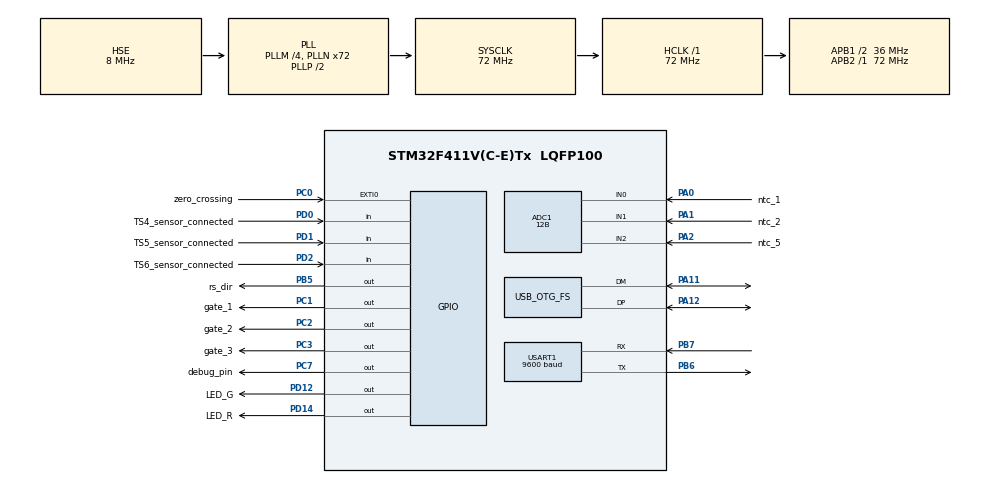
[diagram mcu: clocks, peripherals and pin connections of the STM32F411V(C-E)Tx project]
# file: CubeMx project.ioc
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ADC1.Channel-10\#ChannelRegularConversion=ADC_CHANNEL_0
ADC1.Channel-11\#ChannelRegularConversion=ADC_CHANNEL_1
ADC1.Channel-12\#ChannelRegularConversion=ADC_CHANNEL_2
ADC1.DMAContinuousRequests=ENABLE
ADC1.EOCSelection=ADC_EOC_SEQ_CONV
ADC1.ExternalTrigConv=ADC_SOFTWARE_START
ADC1.NbrOfConversion=3
ADC1.NbrOfConversionFlag=1
ADC1.Rank-10\#ChannelRegularConversion=1
ADC1.Rank-11\#ChannelRegularConversion=2
ADC1.Rank-12\#ChannelRegularConversion=3
ADC1.Resolution=ADC_RESOLUTION_12B
ADC1.SamplingTime-10\#ChannelRegularConversion=ADC_SAMPLETIME_3CYCLES
ADC1.SamplingTime-11\#ChannelRegularConversion=ADC_SAMPLETIME_3CYCLES
ADC1.SamplingTime-12\#ChannelRegularConversion=ADC_SAMPLETIME_3CYCLES
ADC1.master=1
Dma.ADC1.0.Direction=DMA_PERIPH_TO_MEMORY
Dma.ADC1.0.FIFOMode=DMA_FIFOMODE_DISABLE
Dma.ADC1.0.Instance=DMA2_Stream0
Dma.ADC1.0.MemDataAlignment=DMA_MDATAALIGN_HALFWORD
Dma.ADC1.0.MemInc=DMA_MINC_ENABLE
Dma.ADC1.0.Mode=DMA_NORMAL
Dma.ADC1.0.PeriphDataAlignment=DMA_PDATAALIGN_HALFWORD
Dma.ADC1.0.PeriphInc=DMA_PINC_DISABLE
Dma.ADC1.0.Priority=DMA_PRIORITY_LOW
Dma.Request0=ADC1
Mcu.Family=STM32F4
Mcu.Name=STM32F411V(C-E)Tx
Mcu.Package=LQFP100
NVIC.ADC_IRQn=true\:0\:0\:false\:false\:true\:true\:true
NVIC.DMA2_Stream0_IRQn=true\:0\:0\:false\:false\:true\:false\:true
NVIC.EXTI0_IRQn=true\:1\:0\:true\:false\:true\:true\:true
NVIC.OTG_FS_IRQn=true\:0\:0\:false\:false\:true\:true\:true
NVIC.PriorityGroup=NVIC_PRIORITYGROUP_4
NVIC.TIM2_IRQn=true\:0\:0\:true\:false\:true\:true\:true
NVIC.USART1_IRQn=true\:2\:0\:true\:false\:true\:true\:true
PA0-WKUP.GPIO_Label=ntc_1
PA0-WKUP.GPIO_Mode=GPIO_MODE_ANALOG
PA0-WKUP.GPIO_PuPd=GPIO_NOPULL
PA0-WKUP.Signal=ADCx_IN0
PA1.GPIO_Label=ntc_2
PA1.GPIO_Mode=GPIO_MODE_ANALOG
PA1.GPIO_PuPd=GPIO_NOPULL
PA1.Signal=ADCx_IN1
PA11.Mode=Device_Only
PA11.Signal=USB_OTG_FS_DM
PA12.Mode=Device_Only
PA12.Signal=USB_OTG_FS_DP
PA13.Mode=Trace_Asynchronous_SW
PA13.Signal=SYS_JTMS-SWDIO
PA14.Mode=Trace_Asynchronous_SW
PA14.Signal=SYS_JTCK-SWCLK
PA2.GPIO_Label=ntc_5
PA2.GPIO_Mode=GPIO_MODE_ANALOG
PA2.GPIO_PuPd=GPIO_NOPULL
PA2.Signal=ADCx_IN2
PB3.Mode=Trace_Asynchronous_SW
PB3.Signal=SYS_JTDO-SWO
PB5.GPIO_Label=rs_dir
PB5.GPIO_ModeDefaultOutputPP=GPIO_MODE_OUTPUT_PP
PB5.GPIO_PuPd=GPIO_NOPULL
PB5.GPIO_Speed=GPIO_SPEED_FREQ_LOW
PB5.PinState=GPIO_PIN_RESET
PB5.Signal=GPIO_Output
PB6.Mode=Asynchronous
PB6.Signal=USART1_TX
PB7.Mode=Asynchronous
PB7.Signal=USART1_RX
PC0.GPIO_Label=zero_crossing
PC0.GPIO_ModeDefaultEXTI=GPIO_MODE_IT_FALLING
PC0.GPIO_PuPd=GPIO_NOPULL
PC0.Signal=GPXTI0
PC1.GPIO_Label=gate_1
PC1.GPIO_ModeDefaultOutputPP=GPIO_MODE_OUTPUT_PP
PC1.GPIO_PuPd=GPIO_NOPULL
PC1.GPIO_Speed=GPIO_SPEED_FREQ_LOW
PC1.PinState=GPIO_PIN_RESET
PC1.Signal=GPIO_Output
PC14-OSC32_IN.Mode=LSE-External-Oscillator
PC14-OSC32_IN.Signal=RCC_OSC32_IN
PC15-OSC32_OUT.Mode=LSE-External-Oscillator
PC15-OSC32_OUT.Signal=RCC_OSC32_OUT
PC2.GPIO_Label=gate_2
PC2.GPIO_ModeDefaultOutputPP=GPIO_MODE_OUTPUT_PP
PC2.GPIO_PuPd=GPIO_NOPULL
PC2.GPIO_Speed=GPIO_SPEED_FREQ_LOW
PC2.PinState=GPIO_PIN_RESET
PC2.Signal=GPIO_Output
PC3.GPIO_Label=gate_3
PC3.GPIO_ModeDefaultOutputPP=GPIO_MODE_OUTPUT_PP
PC3.GPIO_PuPd=GPIO_NOPULL
PC3.GPIO_Speed=GPIO_SPEED_FREQ_LOW
PC3.PinState=GPIO_PIN_RESET
PC3.Signal=GPIO_Output
PC7.GPIO_Label=debug_pin
PC7.GPIO_ModeDefaultOutputPP=GPIO_MODE_OUTPUT_PP
PC7.GPIO_PuPd=GPIO_NOPULL
PC7.GPIO_Speed=GPIO_SPEED_FREQ_LOW
PC7.PinState=GPIO_PIN_RESET
PC7.Signal=GPIO_Output
PD0.GPIO_Label=TS4_sensor_connected
PD0.GPIO_PuPd=GPIO_PULLUP
PD0.Signal=GPIO_Input
PD1.GPIO_Label=TS5_sensor_connected
PD1.GPIO_PuPd=GPIO_PULLUP
PD1.Signal=GPIO_Input
PD12.GPIO_Label=LED_G
PD12.GPIO_ModeDefaultOutputPP=GPIO_MODE_OUTPUT_PP
PD12.GPIO_PuPd=GPIO_NOPULL
PD12.GPIO_Speed=GPIO_SPEED_FREQ_LOW
PD12.PinState=GPIO_PIN_RESET
PD12.Signal=GPIO_Output
PD14.GPIO_Label=LED_R
PD14.GPIO_ModeDefaultOutputPP=GPIO_MODE_OUTPUT_PP
PD14.GPIO_PuPd=GPIO_NOPULL
PD14.GPIO_Speed=GPIO_SPEED_FREQ_LOW
PD14.PinState=GPIO_PIN_RESET
PD14.Signal=GPIO_Output
PD14.Stacked=true
PD2.GPIO_Label=TS6_sensor_connected
PD2.GPIO_PuPd=GPIO_PULLUP
PD2.Signal=GPIO_Input
PH0\ -\ OSC_IN.Mode=HSE-External-Oscillator
PH0\ -\ OSC_IN.Signal=RCC_OSC_IN
PH1\ -\ OSC_OUT.Mode=HSE-External-Oscillator
PH1\ -\ OSC_OUT.Signal=RCC_OSC_OUT
ProjectManager.HeapSize=0x200
ProjectManager.StackSize=0x400
ProjectManager.TargetToolchain=SW4STM32
RCC.48MHZClocksFreq_Value=48000000
RCC.AHBFreq_Value=72000000
RCC.APB1CLKDivider=RCC_HCLK_DIV2
RCC.APB1Freq_Value=36000000
RCC.APB1TimFreq_Value=72000000
RCC.APB2Freq_Value=72000000
RCC.APB2TimFreq_Value=72000000
RCC.CortexFreq_Value=72000000
RCC.HCLKFreq_Value=72000000
RCC.HSE_VALUE=8000000
RCC.HSI_VALUE=16000000
RCC.PLLI2SM=5
RCC.PLLI2SN=200
RCC.PLLM=4
RCC.PLLN=72
RCC.PLLQ=3
RCC.SYSCLKFreq_VALUE=72000000
RCC.SYSCLKSource=RCC_SYSCLKSOURCE_PLLCLK
RCC.VCOOutputFreq_Value=144000000
SH.ADCx_IN0.0=ADC1_IN0,IN0
SH.ADCx_IN1.0=ADC1_IN1,IN1
SH.ADCx_IN2.0=ADC1_IN2,IN2
TIM2.AutoReloadPreload=TIM_AUTORELOAD_PRELOAD_ENABLE
TIM2.Period=99
TIM2.Prescaler=99
TIM2.TIM_MasterOutputTrigger=TIM_TRGO_UPDATE
USART1.BaudRate=9600
USART1.VirtualMode=VM_ASYNC
USB_DEVICE.CLASS_NAME_FS=CDC
USB_DEVICE.PRODUCT_STRING_CDC_FS=fan controller debug console
USB_DEVICE.VirtualMode=Cdc
USB_DEVICE.VirtualModeFS=Cdc_FS
USB_OTG_FS.VirtualMode=Device_Only
VP_TIM2_VS_ClockSourceINT.Mode=Internal
VP_USB_DEVICE_VS_USB_DEVICE_CDC_FS.Mode=CDC_FS
board=STM32F411E-DISCO

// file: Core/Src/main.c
/* USER CODE BEGIN Header */
/**
  ******************************************************************************
  * @file           : main.c
  * @brief          : Main program body
  ******************************************************************************
  * @attention
  *
  * <h2><center>&copy; Copyright (c) 2020 STMicroelectronics.
  * All rights reserved.</center></h2>
  *
  * This software component is licensed by ST under BSD 3-Clause license,
  * the "License"; You may not use this file except in compliance with the
  * License. You may obtain a copy of the License at:
  *                        opensource.org/licenses/BSD-3-Clause
  *
  ******************************************************************************
  */
/* USER CODE END Header */
#include "main.h"
#include "usb_device.h"

/* USER CODE BEGIN Includes */

#include <stdbool.h>
#include <math.h>
#include <string.h>
#include <config.h>
#include <rs485.h>
#include <modbus.h>
#include <gate_driver.h>
#include <logger.h>
#include <sensor.h>

/* USER CODE END Includes */

/* USER CODE BEGIN PM */

#define WORK_STATE_MANUAL 0
#define WORK_STATE_AUTO 1

/* USER CODE END PM */

ADC_HandleTypeDef hadc1;
DMA_HandleTypeDef hdma_adc1;

TIM_HandleTypeDef htim2;

UART_HandleTypeDef huart1;

/* USER CODE BEGIN PV */

/* Flags */
bool update_working_parameters_pending_flag = false;
bool modbus_request_pending_flag = false;

/* Global variables */
uint32_t gate_pulse_delay_counter_us = 0;
uint32_t update_parameter_counter_us = 0;
uint32_t rx_time_interval_counter = 0;
sensors_t sensors[TOTAL_SENSOR_NUMBER];
uint16_t dma_adc_array[ISOLATED_SENSOR_NUMBER];
int16_t temperature_error_state = 0;
uint8_t received_modbus_frame[RS_RX_BUFFER_SIZE];
uint16_t modbus_frame_byte_counter = 0;

static channel_t channel_array[OUTPUT_CHANNELS_NUMBER] = {
	{gate_1_Pin, 0, WORK_STATE_AUTO, INIT_CHANNEL_SETPOINT_C, 0, 0, GATE_IDLE},
	{gate_2_Pin, 1, WORK_STATE_AUTO, INIT_CHANNEL_SETPOINT_C, 0, 0, GATE_IDLE},
	{gate_3_Pin, 2, WORK_STATE_AUTO, INIT_CHANNEL_SETPOINT_C, 0, 0, GATE_IDLE}
};
uint8_t uart_rx_byte = 0;

/* USER CODE END PV */

void SystemClock_Config(void);
static void MX_GPIO_Init(void);
static void MX_DMA_Init(void);
static void MX_ADC1_Init(void);
static void MX_USART1_UART_Init(void);
static void MX_TIM2_Init(void);
/* USER CODE BEGIN PFP */
int16_t pi_regulator(uint8_t channel, int16_t current_temp, int16_t target_temperature);
void update_working_parameters(void);
void update_modbus_registers(void);
void update_app_data(void);

/* USER CODE END PFP */

/* USER CODE BEGIN 0 */

void update_working_parameters()
{
	log_usb(LEVEL_INFO, "INF: Updating working parameters\n\r");
	HAL_GPIO_TogglePin(GPIOD, LED_G_Pin);

	// Update sensor connected status from user buttons
	sensors[0].connected_status = true; // always connected internally
	sensors[1].connected_status = true; // always connected internally
	sensors[2].connected_status = true; // always connected internally
	sensors[3].connected_status = (bool)HAL_GPIO_ReadPin(GPIOD, TS4_sensor_connected_Pin);
	sensors[4].connected_status = (bool)HAL_GPIO_ReadPin(GPIOD, TS5_sensor_connected_Pin);
	sensors[5].connected_status = (bool)HAL_GPIO_ReadPin(GPIOD, TS6_sensor_connected_Pin);

	// get real ADC values to sensor_values array (for non-isolated sensors)
	for (int i = 0; i < NON_ISOLATED_SENSOR_NUMBER; i++)
	{
		sensors[i].adc_value = dma_adc_array[i];
	}
	// get real ADC values to sensor_values array (for isolated sensors)
	sensors[3].adc_value = 0; // TODO get real value from SPI ADC
	sensors[4].adc_value = 0; // TODO get real value from SPI ADC
	sensors[5].adc_value = 0; // TODO get real value from SPI ADC

	// calculate temperatures from ADC values
	sensors[0].temperature = ntc_to_temperature(sensors[0].adc_value);
	sensors[1].temperature = ntc_to_temperature(sensors[0].adc_value);
	sensors[2].temperature = ntc_to_temperature(sensors[0].adc_value);
	sensors[3].temperature = ntc_to_temperature(sensors[0].adc_value);
	sensors[4].temperature = ntc_to_temperature(sensors[0].adc_value);
	sensors[5].temperature = pt100_to_temperature(sensors[0].adc_value);
	temperature_error_state = check_for_error(sensors);

	// log sensor data
	log_usb(LEVEL_INFO, "SEN CH | ADC  | TEMP | USED | ERR |\n\r-------|------|------|------|-----|\n\r");
	for (int channel = 0; channel < TOTAL_SENSOR_NUMBER; channel++)
	{
	  log_usb(LEVEL_INFO, "     %d | %04d | %04d |  %d   |  %d  |\n\r", channel+1, sensors[channel].adc_value, sensors[channel].temperature, (int)(sensors[channel].connected_status), sensors[channel].error);
	}

	// run PI regulator calculations
	for (uint8_t i = 0; i < OUTPUT_CHANNELS_NUMBER; i++)
	{
		if (channel_array[i].work_state == WORK_STATE_AUTO)
		{
			channel_array[i].output_voltage_decpercent = pi_regulator(i, sensors[i].temperature, channel_array[i].setpoint);
		}
		channel_array[i].activation_delay_us = get_gate_delay_us(channel_array[i].output_voltage_decpercent);
	}

	// log fan channel data
	log_usb(LEVEL_INFO, "FAN CH | SETPOINT | VOLTAGE | DELAY_US |\n\r-------|----------|---------|----------|\n\r");
	for (int i = 0; i < OUTPUT_CHANNELS_NUMBER; i++)
	{
		log_usb(LEVEL_INFO, "   %d   |    %02d    |   %03d   |    %d   |\n\r", i+1, channel_array[i].setpoint/10, channel_array[i].output_voltage_decpercent/10, channel_array[i].activation_delay_us);
	}
	update_working_parameters_pending_flag = false;
	HAL_ADC_Start_DMA(&hadc1, (uint32_t*)dma_adc_array, NON_ISOLATED_SENSOR_NUMBER); // start ADC read for next update cycle
}

int16_t pi_regulator(uint8_t channel, int16_t current_temp, int16_t setpoint)
{
	int16_t error;
	static int16_t integral_error[3] = {0, 0, 0};
	int16_t output_voltage_decpercent;

	error = current_temp - setpoint;

	integral_error[channel] = integral_error[channel] + error;

	if ((error>0) && (integral_error[channel] <350*TIME_CONST))
		integral_error[channel] = 350*TIME_CONST;

	if (integral_error[channel] > INTEGRAL_ERROR_MAX)
		integral_error[channel] = INTEGRAL_ERROR_MAX;
	if (integral_error[channel] < INTEGRAL_ERROR_MIN)
		integral_error[channel] = INTEGRAL_ERROR_MIN;

	output_voltage_decpercent = PI_KP * error  + integral_error[channel]/TIME_CONST;

	if (output_voltage_decpercent > MAX_OUTPUT_VOLTAGE_DECPERCENT)
		output_voltage_decpercent = FULL_ON_OUTPUT_VOLTAGE_DECPERCENT;

	if (output_voltage_decpercent < MIN_OUTPUT_VOLTAGE_DECPERCENT)
		output_voltage_decpercent = FULL_OFF_OUTPUT_VOLTAGE_DECPERCENT;

	return output_voltage_decpercent;
};

void update_modbus_registers(void)
{
	log_usb(LEVEL_INFO, "INF: Updating Modbus registers with data from app before processing request\n\r");
	modbus_set_reg_value(0, channel_array[0].work_state);
	modbus_set_reg_value(1, channel_array[1].work_state);
	modbus_set_reg_value(2, channel_array[2].work_state);
	modbus_set_reg_value(3, channel_array[0].output_voltage_decpercent/VOLTAGE_PRECISION_MULTIPLIER);
	modbus_set_reg_value(4, channel_array[1].output_voltage_decpercent/VOLTAGE_PRECISION_MULTIPLIER);
	modbus_set_reg_value(5, channel_array[2].output_voltage_decpercent/VOLTAGE_PRECISION_MULTIPLIER);
	modbus_set_reg_value(6, channel_array[0].setpoint/TEMPERATURE_PRECISION_MULTIPLIER);
	modbus_set_reg_value(7, channel_array[1].setpoint/TEMPERATURE_PRECISION_MULTIPLIER);
	modbus_set_reg_value(8, channel_array[2].setpoint/TEMPERATURE_PRECISION_MULTIPLIER);
	modbus_set_reg_value(9, sensors[0].temperature/TEMPERATURE_PRECISION_MULTIPLIER);
	modbus_set_reg_value(10, sensors[1].temperature/TEMPERATURE_PRECISION_MULTIPLIER);
	modbus_set_reg_value(11, sensors[2].temperature/TEMPERATURE_PRECISION_MULTIPLIER);
	modbus_set_reg_value(12, sensors[3].temperature/TEMPERATURE_PRECISION_MULTIPLIER);
	modbus_set_reg_value(13, sensors[4].temperature/TEMPERATURE_PRECISION_MULTIPLIER);
	modbus_set_reg_value(14, sensors[5].temperature/TEMPERATURE_PRECISION_MULTIPLIER);
	modbus_set_reg_value(15, temperature_error_state);
}

void update_app_data(void)
{
	log_usb(LEVEL_INFO, "INF: Updating app data with data from Modbus registers\n\r");
	channel_array[0].work_state = modbus_get_reg_value(0);
	channel_array[1].work_state = modbus_get_reg_value(1);
	channel_array[2].work_state = modbus_get_reg_value(2);

	if ((modbus_get_reg_value(3)) != channel_array[0].output_voltage_decpercent/VOLTAGE_PRECISION_MULTIPLIER) // check if value changed
	{
		channel_array[0].work_state = WORK_STATE_MANUAL;
		channel_array[0].output_voltage_decpercent = modbus_get_reg_value(3)*VOLTAGE_PRECISION_MULTIPLIER;
	}

	if (modbus_get_reg_value(4) != channel_array[1].output_voltage_decpercent/VOLTAGE_PRECISION_MULTIPLIER) // check if value changed
	{
		channel_array[1].work_state = WORK_STATE_MANUAL;
		channel_array[1].output_voltage_decpercent = modbus_get_reg_value(4)*VOLTAGE_PRECISION_MULTIPLIER;
	}

	if (modbus_get_reg_value(5) != channel_array[2].output_voltage_decpercent/VOLTAGE_PRECISION_MULTIPLIER) // check if value changed
	{
		channel_array[2].work_state = WORK_STATE_MANUAL;
		channel_array[2].output_voltage_decpercent = modbus_get_reg_value(5)*VOLTAGE_PRECISION_MULTIPLIER;
	}

	if (modbus_get_reg_value(6) != (channel_array[0].setpoint/TEMPERATURE_PRECISION_MULTIPLIER)) // check if value changed
	{
		channel_array[0].work_state = WORK_STATE_AUTO;
		channel_array[0].setpoint = modbus_get_reg_value(6)*TEMPERATURE_PRECISION_MULTIPLIER;
	}

	if (modbus_get_reg_value(7) != (channel_array[1].setpoint/TEMPERATURE_PRECISION_MULTIPLIER)) // check if value changed
	{
		channel_array[1].work_state = WORK_STATE_AUTO;
		channel_array[1].setpoint = modbus_get_reg_value(7)*TEMPERATURE_PRECISION_MULTIPLIER;
	}

	if (modbus_get_reg_value(8) != (channel_array[2].setpoint/TEMPERATURE_PRECISION_MULTIPLIER)) // check if value changed
	{
		channel_array[2].work_state = WORK_STATE_AUTO;
		channel_array[2].setpoint = modbus_get_reg_value(8)*TEMPERATURE_PRECISION_MULTIPLIER;
	}
}

/* USER CODE END 0 */

int main(void)
{

  /* MCU Configuration--------------------------------------------------------*/

  /* Reset of all peripherals, Initializes the Flash interface and the Systick. */
  HAL_Init();

  /* Configure the system clock */
  SystemClock_Config();

  /* Initialize all configured peripherals */
  MX_GPIO_Init();
  MX_DMA_Init();
  MX_ADC1_Init();
  MX_USART1_UART_Init();
  MX_TIM2_Init();
  MX_USB_DEVICE_Init();
  /* USER CODE BEGIN 2 */

  HAL_TIM_Base_Start_IT(&htim2);
  HAL_ADC_Start_DMA(&hadc1, (uint32_t*)dma_adc_array, NON_ISOLATED_SENSOR_NUMBER);

  rs485_init(&huart1);
  update_working_parameters();
  logger_set_level(LEVEL_DEBUG);

  // START RECEIVING BYTES
  HAL_StatusTypeDef status = HAL_UART_Receive_IT(&huart1, &uart_rx_byte, 1);
  if (status != HAL_OK)
  {
	  log_usb(LEVEL_ERROR, "ERR: cannot start HAL_UART_Transmit_IT\n\r");
  }

  log_usb(LEVEL_INFO, "INF: Init done. App is running\n\r");

  /* USER CODE END 2 */

  /* Infinite loop */
  /* USER CODE BEGIN WHILE */

  while (1)
  {
	// Modbus request can be waiting if update_working_parameters() is running. Could it be a problem?
	// Probably no, as a measured execution time of update_working_parameters() execution is around 1ms.
	if (update_working_parameters_pending_flag == true)
	{
		update_working_parameters();
		log_usb(LEVEL_DEBUG, "DGG: update_working_parameters() execution time in us: %d\n\r", update_parameter_counter_us);
	}

	if (modbus_request_pending_flag == true)
	{
		uint8_t response_buffer[RS_TX_BUFFER_SIZE];
		uint16_t response_size;
		update_modbus_registers(); // update Modbus registers with data from app
		if (modbus_process_frame(received_modbus_frame, modbus_frame_byte_counter, response_buffer, &response_size))
		{
			rs485_transmit_byte_array(response_buffer, response_size);
		}
		else
		{
			log_usb(LEVEL_ERROR, "ERR: cannot process Modbus frame\n\r");
		}
		update_app_data(); // update app with new data from processed Modbus frame (needed if it was write command)

		modbus_request_pending_flag = false;
		modbus_frame_byte_counter = 0;
		memset(received_modbus_frame, 0, sizeof(received_modbus_frame)); // clear buffer
	}

    /* USER CODE END WHILE */

  }
}

void SystemClock_Config(void)
{
  RCC_OscInitTypeDef RCC_OscInitStruct = {0};
  RCC_ClkInitTypeDef RCC_ClkInitStruct = {0};

  /** Configure the main internal regulator output voltage
  */
  __HAL_RCC_PWR_CLK_ENABLE();
  __HAL_PWR_VOLTAGESCALING_CONFIG(PWR_REGULATOR_VOLTAGE_SCALE1);
  /** Initializes the RCC Oscillators according to the specified parameters
  * in the RCC_OscInitTypeDef structure.
  */
  RCC_OscInitStruct.OscillatorType = RCC_OSCILLATORTYPE_HSE;
  RCC_OscInitStruct.HSEState = RCC_HSE_ON;
  RCC_OscInitStruct.PLL.PLLState = RCC_PLL_ON;
  RCC_OscInitStruct.PLL.PLLSource = RCC_PLLSOURCE_HSE;
  RCC_OscInitStruct.PLL.PLLM = 4;
  RCC_OscInitStruct.PLL.PLLN = 72;
  RCC_OscInitStruct.PLL.PLLP = RCC_PLLP_DIV2;
  RCC_OscInitStruct.PLL.PLLQ = 3;
  if (HAL_RCC_OscConfig(&RCC_OscInitStruct) != HAL_OK)
  {
    Error_Handler();
  }
  /** Initializes the CPU, AHB and APB buses clocks
  */
  RCC_ClkInitStruct.ClockType = RCC_CLOCKTYPE_HCLK|RCC_CLOCKTYPE_SYSCLK
                              |RCC_CLOCKTYPE_PCLK1|RCC_CLOCKTYPE_PCLK2;
  RCC_ClkInitStruct.SYSCLKSource = RCC_SYSCLKSOURCE_PLLCLK;
  RCC_ClkInitStruct.AHBCLKDivider = RCC_SYSCLK_DIV1;
  RCC_ClkInitStruct.APB1CLKDivider = RCC_HCLK_DIV2;
  RCC_ClkInitStruct.APB2CLKDivider = RCC_HCLK_DIV1;

  if (HAL_RCC_ClockConfig(&RCC_ClkInitStruct, FLASH_LATENCY_2) != HAL_OK)
  {
    Error_Handler();
  }
}

static void MX_ADC1_Init(void)
{

  ADC_ChannelConfTypeDef sConfig = {0};

  /** Configure the global features of the ADC (Clock, Resolution, Data Alignment and number of conversion)
  */
  hadc1.Instance = ADC1;
  hadc1.Init.ClockPrescaler = ADC_CLOCK_SYNC_PCLK_DIV2;
  hadc1.Init.Resolution = ADC_RESOLUTION_12B;
  hadc1.Init.ScanConvMode = ENABLE;
  hadc1.Init.ContinuousConvMode = DISABLE;
  hadc1.Init.DiscontinuousConvMode = DISABLE;
  hadc1.Init.ExternalTrigConvEdge = ADC_EXTERNALTRIGCONVEDGE_NONE;
  hadc1.Init.ExternalTrigConv = ADC_SOFTWARE_START;
  hadc1.Init.DataAlign = ADC_DATAALIGN_RIGHT;
  hadc1.Init.NbrOfConversion = 3;
  hadc1.Init.DMAContinuousRequests = ENABLE;
  hadc1.Init.EOCSelection = ADC_EOC_SEQ_CONV;
  if (HAL_ADC_Init(&hadc1) != HAL_OK)
  {
    Error_Handler();
  }
  /** Configure for the selected ADC regular channel its corresponding rank in the sequencer and its sample time.
  */
  sConfig.Channel = ADC_CHANNEL_0;
  sConfig.Rank = 1;
  sConfig.SamplingTime = ADC_SAMPLETIME_3CYCLES;
  if (HAL_ADC_ConfigChannel(&hadc1, &sConfig) != HAL_OK)
  {
    Error_Handler();
  }
  /** Configure for the selected ADC regular channel its corresponding rank in the sequencer and its sample time.
  */
  sConfig.Channel = ADC_CHANNEL_1;
  sConfig.Rank = 2;
  if (HAL_ADC_ConfigChannel(&hadc1, &sConfig) != HAL_OK)
  {
    Error_Handler();
  }
  /** Configure for the selected ADC regular channel its corresponding rank in the sequencer and its sample time.
  */
  sConfig.Channel = ADC_CHANNEL_2;
  sConfig.Rank = 3;
  if (HAL_ADC_ConfigChannel(&hadc1, &sConfig) != HAL_OK)
  {
    Error_Handler();
  }

}

static void MX_TIM2_Init(void)
{

  TIM_ClockConfigTypeDef sClockSourceConfig = {0};
  TIM_MasterConfigTypeDef sMasterConfig = {0};

  htim2.Instance = TIM2;
  htim2.Init.Prescaler = 99;
  htim2.Init.CounterMode = TIM_COUNTERMODE_UP;
  htim2.Init.Period = 99;
  htim2.Init.ClockDivision = TIM_CLOCKDIVISION_DIV1;
  htim2.Init.AutoReloadPreload = TIM_AUTORELOAD_PRELOAD_ENABLE;
  if (HAL_TIM_Base_Init(&htim2) != HAL_OK)
  {
    Error_Handler();
  }
  sClockSourceConfig.ClockSource = TIM_CLOCKSOURCE_INTERNAL;
  if (HAL_TIM_ConfigClockSource(&htim2, &sClockSourceConfig) != HAL_OK)
  {
    Error_Handler();
  }
  sMasterConfig.MasterOutputTrigger = TIM_TRGO_UPDATE;
  sMasterConfig.MasterSlaveMode = TIM_MASTERSLAVEMODE_DISABLE;
  if (HAL_TIMEx_MasterConfigSynchronization(&htim2, &sMasterConfig) != HAL_OK)
  {
    Error_Handler();
  }

}

static void MX_USART1_UART_Init(void)
{

  huart1.Instance = USART1;
  huart1.Init.BaudRate = 9600;
  huart1.Init.WordLength = UART_WORDLENGTH_8B;
  huart1.Init.StopBits = UART_STOPBITS_1;
  huart1.Init.Parity = UART_PARITY_NONE;
  huart1.Init.Mode = UART_MODE_TX_RX;
  huart1.Init.HwFlowCtl = UART_HWCONTROL_NONE;
  huart1.Init.OverSampling = UART_OVERSAMPLING_16;
  if (HAL_UART_Init(&huart1) != HAL_OK)
  {
    Error_Handler();
  }

}

static void MX_DMA_Init(void)
{

  /* DMA controller clock enable */
  __HAL_RCC_DMA2_CLK_ENABLE();

  /* DMA interrupt init */
  /* DMA2_Stream0_IRQn interrupt configuration */
  HAL_NVIC_SetPriority(DMA2_Stream0_IRQn, 0, 0);
  HAL_NVIC_EnableIRQ(DMA2_Stream0_IRQn);

}

static void MX_GPIO_Init(void)
{
  GPIO_InitTypeDef GPIO_InitStruct = {0};

  /* GPIO Ports Clock Enable */
  __HAL_RCC_GPIOC_CLK_ENABLE();
  __HAL_RCC_GPIOH_CLK_ENABLE();
  __HAL_RCC_GPIOA_CLK_ENABLE();
  __HAL_RCC_GPIOD_CLK_ENABLE();
  __HAL_RCC_GPIOB_CLK_ENABLE();

  /*Configure GPIO pin Output Level */
  HAL_GPIO_WritePin(GPIOC, gate_1_Pin|gate_2_Pin|gate_3_Pin|debug_pin_Pin, GPIO_PIN_RESET);

  /*Configure GPIO pin Output Level */
  HAL_GPIO_WritePin(GPIOD, LED_G_Pin|LED_R_Pin, GPIO_PIN_RESET);

  /*Configure GPIO pin Output Level */
  HAL_GPIO_WritePin(rs_dir_GPIO_Port, rs_dir_Pin, GPIO_PIN_RESET);

  /*Configure GPIO pin : zero_crossing_Pin */
  GPIO_InitStruct.Pin = zero_crossing_Pin;
  GPIO_InitStruct.Mode = GPIO_MODE_IT_FALLING;
  GPIO_InitStruct.Pull = GPIO_NOPULL;
  HAL_GPIO_Init(zero_crossing_GPIO_Port, &GPIO_InitStruct);

  /*Configure GPIO pins : gate_1_Pin gate_2_Pin gate_3_Pin debug_pin_Pin */
  GPIO_InitStruct.Pin = gate_1_Pin|gate_2_Pin|gate_3_Pin|debug_pin_Pin;
  GPIO_InitStruct.Mode = GPIO_MODE_OUTPUT_PP;
  GPIO_InitStruct.Pull = GPIO_NOPULL;
  GPIO_InitStruct.Speed = GPIO_SPEED_FREQ_LOW;
  HAL_GPIO_Init(GPIOC, &GPIO_InitStruct);

  /*Configure GPIO pins : LED_G_Pin LED_R_Pin */
  GPIO_InitStruct.Pin = LED_G_Pin|LED_R_Pin;
  GPIO_InitStruct.Mode = GPIO_MODE_OUTPUT_PP;
  GPIO_InitStruct.Pull = GPIO_NOPULL;
  GPIO_InitStruct.Speed = GPIO_SPEED_FREQ_LOW;
  HAL_GPIO_Init(GPIOD, &GPIO_InitStruct);

  /*Configure GPIO pins : TS4_sensor_connected_Pin TS5_sensor_connected_Pin TS6_sensor_connected_Pin */
  GPIO_InitStruct.Pin = TS4_sensor_connected_Pin|TS5_sensor_connected_Pin|TS6_sensor_connected_Pin;
  GPIO_InitStruct.Mode = GPIO_MODE_INPUT;
  GPIO_InitStruct.Pull = GPIO_PULLUP;
  HAL_GPIO_Init(GPIOD, &GPIO_InitStruct);

  /*Configure GPIO pin : rs_dir_Pin */
  GPIO_InitStruct.Pin = rs_dir_Pin;
  GPIO_InitStruct.Mode = GPIO_MODE_OUTPUT_PP;
  GPIO_InitStruct.Pull = GPIO_NOPULL;
  GPIO_InitStruct.Speed = GPIO_SPEED_FREQ_LOW;
  HAL_GPIO_Init(rs_dir_GPIO_Port, &GPIO_InitStruct);

  /* EXTI interrupt init*/
  HAL_NVIC_SetPriority(EXTI0_IRQn, 1, 0);
  HAL_NVIC_EnableIRQ(EXTI0_IRQn);

}

/* USER CODE BEGIN 4 */
void reset_zero_crossing_counter(void)
{
	if (gate_pulse_delay_counter_us > HALF_SINE_PERIOD_US - 500)
	{
		gate_pulse_delay_counter_us = 0;
	}
}

/* Timer 2 overflow interrupt callback */
void HAL_TIM_PeriodElapsedCallback(TIM_HandleTypeDef *htim)
{
	if (htim->Instance == TIM2)
	{
		drive_fans(channel_array, OUTPUT_CHANNELS_NUMBER, gate_pulse_delay_counter_us);

		gate_pulse_delay_counter_us += MAIN_TIMER_RESOLUTION_US;
		update_parameter_counter_us += MAIN_TIMER_RESOLUTION_US;
		rx_time_interval_counter += MAIN_TIMER_RESOLUTION_US;

		if(update_parameter_counter_us >= WORKING_PARAMETERS_UPDATE_PERIOD_US)
		{
			update_working_parameters_pending_flag = true;
			update_parameter_counter_us = 0;
		}
	}

	if ( (rx_time_interval_counter > MAX_TIME_BETWEEN_FRAMES_US) && (!rs485_rx_buffer_empty()) )
	{
		rs485_get_frame(received_modbus_frame, RS_RX_BUFFER_SIZE);
		modbus_request_pending_flag = true;
	}
}

/* ADC conversion finished callback */
void HAL_ADC_ConvCpltCallback(ADC_HandleTypeDef* hadc)
{
//	 measured ADC read time is about 300us
//	log_usb(LEVEL_DEBUG, "DBG: HAL_ADC_ConvCpltCallback\n\r");
}

/* UART RX finished callback */
void HAL_UART_RxCpltCallback(UART_HandleTypeDef *huart)
{
	log_usb(LEVEL_DEBUG, "Serial received a byte: %02x\n\r", uart_rx_byte);

	if (modbus_request_pending_flag == true)
	{
		return;
	}
	else
	{
		rx_time_interval_counter = 0;

		if (rs485_collect_byte_to_buffer(&uart_rx_byte) && (modbus_frame_byte_counter < RS_RX_BUFFER_SIZE))
		{
			modbus_frame_byte_counter++;
		}
		else
		{
			log_usb(LEVEL_ERROR, "ERR: cannot get byte to buffer (buffer full)\n\r");
			modbus_frame_byte_counter = 0;
		}
	}

	// Prepare for next byte receiving
	HAL_StatusTypeDef status = HAL_UART_Receive_IT(&huart1, &uart_rx_byte, 1);
	if (status != HAL_OK)
	{
		log_usb(LEVEL_ERROR, "ERR, cannot start HAL_UART_Transmit_IT\n\r");
	}
}

/* UART TX finished callback */
void HAL_UART_TxCpltCallback(UART_HandleTypeDef *huart)
{
	//
}

/* USER CODE END 4 */

void Error_Handler(void)
{
}

/************************ (C) COPYRIGHT STMicroelectronics *****END OF FILE****/
